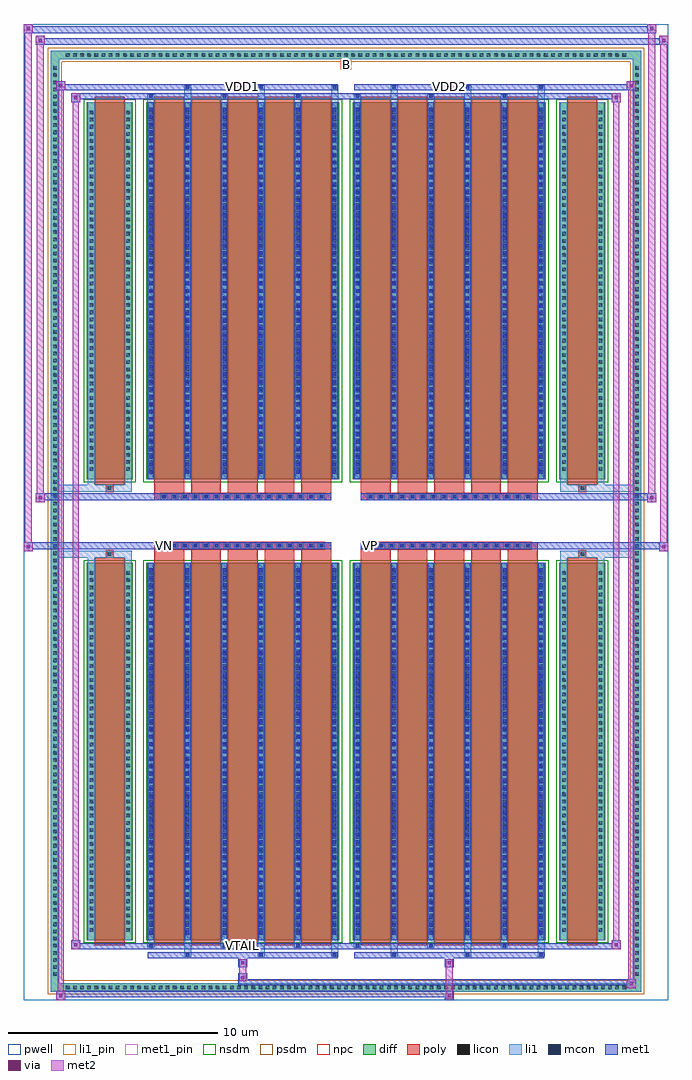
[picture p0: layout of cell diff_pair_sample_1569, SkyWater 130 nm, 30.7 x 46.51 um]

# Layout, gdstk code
import gdstk
lib = gdstk.Library(unit=1e-6, precision=5e-09)
def R(c, l, rs):  # rectangles x0, y0, x1, y1
    for r in rs: c.add(gdstk.rectangle(r[:2], r[2:], *l))
def A(c, l, x, y, w, h, nx, ny, dx, dy):  # array of equal rectangles
    R(c, l, [(x+i*dx, y+j*dy, x+i*dx+w, y+j*dy+h) for i in range(nx) for j in range(ny)])
def P(c, l, *ps):  # polygons
    for p in ps: c.add(gdstk.Polygon(p, *l))
pwell = (64, 44)
diff = (65, 20)
poly = (66, 20)
licon = (66, 44)
li1_pin = (67, 16)
li1 = (67, 20)
mcon = (67, 44)
met1_pin = (68, 16)
met1 = (68, 20)
via = (68, 44)
met2 = (69, 20)
nsdm = (93, 44)
psdm = (94, 20)
npc = (95, 20)

diff_pair_sample_1569 = lib.new_cell('diff_pair_sample_1569')
R(diff_pair_sample_1569, pwell, [(-15.35,-22.82,15.35,23.69), (-12.67,-21.01,-0.01,-0.805), (0.01,-21.01,12.67,-0.805), (-12.67,0.805,-0.01,21.01), (0.01,0.805,12.67,21.01)])
A(diff_pair_sample_1569, diff, -13.465, -22.42, 0.41, 0.41, 79, 2, 0.34, 44.43)
A(diff_pair_sample_1569, diff, -14.08, -21.795, 0.41, 0.41, 1, 128, 0, 0.34)
A(diff_pair_sample_1569, diff, 13.67, -21.795, 0.41, 0.41, 1, 128, 0, 0.34)
R(diff_pair_sample_1569, diff, [(-13.465,-22.42,13.465,-22.01), (-14.08,-21.795,-13.67,21.795), (13.67,-21.795,14.08,21.795), (-12.36,-19.965,-10.16,-1.985), (-9.52,-19.965,-0.32,-1.985), (0.32,-19.965,9.52,-1.985), (10.16,-19.965,12.36,-1.985), (-12.36,1.985,-10.16,19.965), (-9.52,1.985,-0.32,19.965), (0.32,1.985,9.52,19.965), (10.16,1.985,12.36,19.965), (-13.465,22.01,13.465,22.42)])
P(diff_pair_sample_1569, diff, [(14.08,22.42),(-14.08,22.42),(-14.08,-22.01),(-13.67,-22.01),(-13.67,22.01),(13.67,22.01),(13.67,-22.01),(-13.67,-22.01),(-14.08,-22.01),(-14.08,-22.42),(14.08,-22.42)])
A(diff_pair_sample_1569, poly, -9.13, -20.215, 1.42, 18.48, 5, 2, 1.75, 21.95)
A(diff_pair_sample_1569, poly, 0.71, -20.215, 1.42, 18.48, 5, 2, 1.75, 21.95)
A(diff_pair_sample_1569, poly, -9.13, -1.735, 1.42, 0.4, 5, 2, 1.75, 3.07)
A(diff_pair_sample_1569, poly, 0.71, -1.735, 1.42, 0.4, 5, 2, 1.75, 3.07)
A(diff_pair_sample_1569, poly, -8.835, -1.335, 0.33, 0.33, 16, 2, 0.5, 2.34)
A(diff_pair_sample_1569, poly, 1.005, -1.335, 0.33, 0.33, 16, 2, 0.5, 2.34)
R(diff_pair_sample_1569, poly, [(-11.97,-20.215,-10.55,-1.735), (10.55,-20.215,11.97,-1.735), (-11.425,-1.735,-11.095,-1.405), (-11.425,-1.735,-11.095,-1.405), (11.095,-1.735,11.425,-1.405), (11.095,-1.735,11.425,-1.405), (-9.13,-1.335,-0.71,-1.005), (0.71,-1.335,9.13,-1.005), (-9.13,1.005,-0.71,1.335), (0.71,1.005,9.13,1.335), (-11.425,1.405,-11.095,1.735), (-11.425,1.405,-11.095,1.735), (11.095,1.405,11.425,1.735), (11.095,1.405,11.425,1.735), (-11.97,1.735,-10.55,20.215), (10.55,1.735,11.97,20.215)])
A(diff_pair_sample_1569, licon, -13.345, -22.3, 0.17, 0.17, 79, 2, 0.34, 44.43)
A(diff_pair_sample_1569, licon, -13.96, -21.675, 0.17, 0.17, 1, 128, 0, 0.34)
A(diff_pair_sample_1569, licon, 13.79, -21.675, 0.17, 0.17, 1, 128, 0, 0.34)
A(diff_pair_sample_1569, licon, -12.22, -19.56, 0.17, 0.17, 1, 51, 0, 0.34)
A(diff_pair_sample_1569, licon, -10.47, -19.56, 0.17, 0.17, 1, 51, 0, 0.34)
A(diff_pair_sample_1569, licon, -9.38, -19.56, 0.17, 0.17, 6, 51, 1.75, 0.34)
A(diff_pair_sample_1569, licon, 0.46, -19.56, 0.17, 0.17, 6, 51, 1.75, 0.34)
A(diff_pair_sample_1569, licon, 10.3, -19.56, 0.17, 0.17, 1, 51, 0, 0.34)
A(diff_pair_sample_1569, licon, 12.05, -19.56, 0.17, 0.17, 1, 51, 0, 0.34)
A(diff_pair_sample_1569, licon, -8.755, -1.255, 0.17, 0.17, 16, 2, 0.5, 2.34)
A(diff_pair_sample_1569, licon, 1.085, -1.255, 0.17, 0.17, 16, 2, 0.5, 2.34)
A(diff_pair_sample_1569, licon, -12.22, 2.39, 0.17, 0.17, 1, 51, 0, 0.34)
A(diff_pair_sample_1569, licon, -10.47, 2.39, 0.17, 0.17, 1, 51, 0, 0.34)
A(diff_pair_sample_1569, licon, -9.38, 2.39, 0.17, 0.17, 6, 51, 1.75, 0.34)
A(diff_pair_sample_1569, licon, 0.46, 2.39, 0.17, 0.17, 6, 51, 1.75, 0.34)
A(diff_pair_sample_1569, licon, 10.3, 2.39, 0.17, 0.17, 1, 51, 0, 0.34)
A(diff_pair_sample_1569, licon, 12.05, 2.39, 0.17, 0.17, 1, 51, 0, 0.34)
R(diff_pair_sample_1569, licon, [(-11.345,-1.655,-11.175,-1.485), (11.175,-1.655,11.345,-1.485), (-11.345,1.485,-11.175,1.655), (11.175,1.485,11.345,1.655)])
R(diff_pair_sample_1569, li1_pin, [(-0.25,21.51,0.25,22.01)])
A(diff_pair_sample_1569, li1, -13.425, -22.38, 0.33, 0.33, 79, 2, 0.34, 44.43)
A(diff_pair_sample_1569, li1, -14.04, -21.755, 0.33, 0.33, 1, 128, 0, 0.34)
A(diff_pair_sample_1569, li1, 13.71, -21.755, 0.33, 0.33, 1, 128, 0, 0.34)
A(diff_pair_sample_1569, li1, -7.71, -20.77, 0.33, 0.805, 3, 2, 3.5, 40.735)
A(diff_pair_sample_1569, li1, -7.63, -20.77, 0.17, 0.17, 3, 2, 3.5, 41.37)
A(diff_pair_sample_1569, li1, 2.13, -20.77, 0.33, 0.805, 3, 2, 3.5, 40.735)
A(diff_pair_sample_1569, li1, 2.21, -20.77, 0.17, 0.17, 3, 2, 3.5, 41.37)
A(diff_pair_sample_1569, li1, -9.46, -20.34, 0.33, 0.375, 3, 2, 3.5, 40.305)
A(diff_pair_sample_1569, li1, -9.38, -20.34, 0.17, 0.17, 3, 2, 3.5, 40.51)
A(diff_pair_sample_1569, li1, 0.38, -20.34, 0.33, 0.375, 3, 2, 3.5, 40.305)
A(diff_pair_sample_1569, li1, 0.46, -20.34, 0.17, 0.17, 3, 2, 3.5, 40.51)
A(diff_pair_sample_1569, li1, -9.46, -19.965, 0.33, 17.98, 6, 2, 1.75, 21.95)
A(diff_pair_sample_1569, li1, 0.38, -19.965, 0.33, 17.98, 6, 2, 1.75, 21.95)
A(diff_pair_sample_1569, li1, -9.38, -19.7, 0.17, 0.17, 6, 49, 1.75, 0.36)
A(diff_pair_sample_1569, li1, -9.38, -19.7, 0.17, 17.45, 6, 2, 1.75, 21.95)
A(diff_pair_sample_1569, li1, 0.46, -19.7, 0.17, 0.17, 6, 49, 1.75, 0.36)
A(diff_pair_sample_1569, li1, 0.46, -19.7, 0.17, 17.45, 6, 2, 1.75, 21.95)
A(diff_pair_sample_1569, li1, -12.3, -19.64, 0.33, 0.33, 1, 51, 0, 0.34)
A(diff_pair_sample_1569, li1, -10.55, -19.64, 0.33, 0.33, 1, 51, 0, 0.34)
A(diff_pair_sample_1569, li1, -9.46, -19.64, 0.33, 0.33, 6, 51, 1.75, 0.34)
A(diff_pair_sample_1569, li1, 0.38, -19.64, 0.33, 0.33, 6, 51, 1.75, 0.34)
A(diff_pair_sample_1569, li1, 10.22, -19.64, 0.33, 0.33, 1, 51, 0, 0.34)
A(diff_pair_sample_1569, li1, 11.97, -19.64, 0.33, 0.33, 1, 51, 0, 0.34)
A(diff_pair_sample_1569, li1, -8.835, -1.335, 0.33, 0.33, 16, 2, 0.5, 2.34)
A(diff_pair_sample_1569, li1, 1.005, -1.335, 0.33, 0.33, 16, 2, 0.5, 2.34)
A(diff_pair_sample_1569, li1, -9.38, 2.25, 0.17, 0.17, 6, 49, 1.75, 0.36)
A(diff_pair_sample_1569, li1, 0.46, 2.25, 0.17, 0.17, 6, 49, 1.75, 0.36)
A(diff_pair_sample_1569, li1, -12.3, 2.31, 0.33, 0.33, 1, 51, 0, 0.34)
A(diff_pair_sample_1569, li1, -10.55, 2.31, 0.33, 0.33, 1, 51, 0, 0.34)
A(diff_pair_sample_1569, li1, -9.46, 2.31, 0.33, 0.33, 6, 51, 1.75, 0.34)
A(diff_pair_sample_1569, li1, 0.38, 2.31, 0.33, 0.33, 6, 51, 1.75, 0.34)
A(diff_pair_sample_1569, li1, 10.22, 2.31, 0.33, 0.33, 1, 51, 0, 0.34)
A(diff_pair_sample_1569, li1, 11.97, 2.31, 0.33, 0.33, 1, 51, 0, 0.34)
R(diff_pair_sample_1569, li1, [(-14.08,-22.42,-13.67,-22.01), (-14.08,-22.42,-13.67,-22.01), (-13.67,-22.42,13.67,-22.01), (13.67,-22.42,14.08,-22.01), (13.67,-22.42,14.08,-22.01), (-14.08,-22.01,-13.67,22.01), (13.67,-22.01,14.08,22.01), (-12.3,-19.965,-11.97,-1.985), (-10.55,-19.965,-10.22,-1.985), (10.22,-19.965,10.55,-1.985), (11.97,-19.965,12.3,-1.985), (-12.3,-1.985,-11.97,-1.405), (-10.55,-1.985,-10.22,-1.405), (10.22,-1.985,10.55,-1.405), (11.97,-1.985,12.3,-1.405), (-14.08,-1.735,-11.425,-1.405), (-12.3,-1.735,-11.425,-1.405), (-11.425,-1.735,-11.095,-1.405), (-11.095,-1.735,-10.22,-1.405), (10.22,-1.735,11.095,-1.405), (11.095,-1.735,11.425,-1.405), (11.095,-1.735,14.08,-1.405), (11.425,-1.735,12.3,-1.405), (-14.08,1.405,-11.425,1.735), (-12.3,1.405,-11.425,1.735), (-12.3,1.405,-11.97,1.985), (-11.425,1.405,-11.095,1.735), (-11.095,1.405,-10.22,1.735), (-10.55,1.405,-10.22,1.985), (10.22,1.405,11.095,1.735), (10.22,1.405,10.55,1.985), (11.095,1.405,11.425,1.735), (11.095,1.405,14.08,1.735), (11.425,1.405,12.3,1.735), (11.97,1.405,12.3,1.985), (-12.3,1.985,-11.97,19.965), (-10.55,1.985,-10.22,19.965), (10.22,1.985,10.55,19.965), (11.97,1.985,12.3,19.965), (-14.08,22.01,-13.67,22.42), (-14.08,22.01,-13.67,22.42), (-13.67,22.01,13.67,22.42), (13.67,22.01,14.08,22.42), (13.67,22.01,14.08,22.42)])
A(diff_pair_sample_1569, mcon, -7.63, -20.77, 0.17, 0.17, 3, 2, 3.5, 41.37)
A(diff_pair_sample_1569, mcon, 2.21, -20.77, 0.17, 0.17, 3, 2, 3.5, 41.37)
A(diff_pair_sample_1569, mcon, -9.38, -20.34, 0.17, 0.17, 3, 2, 3.5, 40.51)
A(diff_pair_sample_1569, mcon, 0.46, -20.34, 0.17, 0.17, 3, 2, 3.5, 40.51)
A(diff_pair_sample_1569, mcon, -9.38, -19.7, 0.17, 0.17, 6, 49, 1.75, 0.36)
A(diff_pair_sample_1569, mcon, 0.46, -19.7, 0.17, 0.17, 6, 49, 1.75, 0.36)
A(diff_pair_sample_1569, mcon, -8.755, -1.255, 0.17, 0.17, 16, 2, 0.5, 2.34)
A(diff_pair_sample_1569, mcon, 1.085, -1.255, 0.17, 0.17, 16, 2, 0.5, 2.34)
A(diff_pair_sample_1569, mcon, -9.38, 2.25, 0.17, 0.17, 6, 49, 1.75, 0.36)
A(diff_pair_sample_1569, mcon, 0.46, 2.25, 0.17, 0.17, 6, 49, 1.75, 0.36)
R(diff_pair_sample_1569, met1_pin, [(-5.055,-20.38,-4.785,-20.11), (-8.805,-1.295,-8.535,-1.025), (1.035,-1.295,1.305,-1.025), (-5.055,20.56,-4.785,20.83), (4.785,20.56,5.055,20.83)])
A(diff_pair_sample_1569, met1, -7.69, -20.83, 0.29, 0.29, 3, 2, 3.5, 41.37)
A(diff_pair_sample_1569, met1, 2.15, -20.83, 0.29, 0.29, 3, 2, 3.5, 41.37)
A(diff_pair_sample_1569, met1, -9.44, -20.4, 0.29, 0.29, 3, 2, 3.5, 40.51)
A(diff_pair_sample_1569, met1, 0.4, -20.4, 0.29, 0.29, 3, 2, 3.5, 40.51)
A(diff_pair_sample_1569, met1, -9.44, -19.965, 0.29, 17.98, 6, 2, 1.75, 21.95)
A(diff_pair_sample_1569, met1, 0.4, -19.965, 0.29, 17.98, 6, 2, 1.75, 21.95)
A(diff_pair_sample_1569, met1, -9.44, -19.76, 0.29, 0.29, 6, 49, 1.75, 0.36)
A(diff_pair_sample_1569, met1, 0.4, -19.76, 0.29, 0.29, 6, 49, 1.75, 0.36)
A(diff_pair_sample_1569, met1, -8.815, -1.315, 0.29, 0.29, 16, 2, 0.5, 2.34)
A(diff_pair_sample_1569, met1, 1.025, -1.315, 0.29, 0.29, 16, 2, 0.5, 2.34)
A(diff_pair_sample_1569, met1, -9.44, 2.19, 0.29, 0.29, 6, 49, 1.75, 0.36)
A(diff_pair_sample_1569, met1, 0.4, 2.19, 0.29, 0.29, 6, 49, 1.75, 0.36)
R(diff_pair_sample_1569, met1, [(-13.81,-22.82,-13.38,-22.39), (4.705,-22.82,5.135,-22.39), (-13.81,-22.68,5.135,-22.39), (13.38,-22.25,13.81,-21.82), (-5.135,-22.11,13.81,-21.82), (-5.135,-21.97,-4.705,-21.54), (-5.135,-21.26,-4.705,-20.83), (4.705,-21.26,5.135,-20.83), (-9.44,-20.83,-0.4,-20.54), (0.4,-20.83,9.44,-20.54), (-13.1,-20.4,-12.67,-19.97), (-13.1,-20.4,-9.44,-20.11), (-9.44,-20.4,-0.4,-20.11), (-0.4,-20.4,0.4,-20.11), (0.4,-20.4,9.44,-20.11), (9.44,-20.4,13.1,-20.11), (12.67,-20.4,13.1,-19.97), (-15.35,-1.435,-14.92,-1.005), (14.92,-1.435,15.35,-1.005), (-15.35,-1.335,-0.71,-1.005), (-9.13,-1.335,-0.71,-1.005), (0.71,-1.335,9.13,-1.005), (0.71,-1.335,15.35,-1.005), (-14.78,0.905,-14.35,1.335), (14.35,0.905,14.78,1.335), (-14.78,1.005,-9.13,1.335), (-9.13,1.005,-0.71,1.335), (0.71,1.005,9.13,1.335), (9.13,1.005,14.78,1.335), (-13.1,19.97,-12.67,20.4), (12.67,19.97,13.1,20.4), (-13.1,20.11,-9.44,20.4), (-9.44,20.11,-0.4,20.4), (-0.4,20.11,0.4,20.4), (0.4,20.11,9.44,20.4), (9.44,20.11,13.1,20.4), (-13.81,20.54,-13.38,20.97), (-13.81,20.54,-9.44,20.83), (-9.44,20.54,-0.4,20.83), (0.4,20.54,9.44,20.83), (9.44,20.54,13.81,20.83), (13.38,20.54,13.81,20.97), (-14.78,22.69,-14.35,23.12), (-14.78,22.69,-12.67,23.02), (-12.67,22.69,12.67,23.02), (12.67,22.69,15.35,23.02), (14.92,22.69,15.35,23.12), (-15.35,23.26,-14.92,23.69), (-15.35,23.26,-12.67,23.59), (-12.67,23.26,12.67,23.59), (12.67,23.26,14.78,23.59), (14.35,23.26,14.78,23.69)])
R(diff_pair_sample_1569, via, [(-13.67,-22.68,-13.52,-22.53), (4.845,-22.68,4.995,-22.53), (13.52,-22.11,13.67,-21.96), (-4.995,-21.83,-4.845,-21.68), (-4.995,-21.12,-4.845,-20.97), (4.845,-21.12,4.995,-20.97), (-12.96,-20.26,-12.81,-20.11), (12.81,-20.26,12.96,-20.11), (-15.21,-1.295,-15.06,-1.145), (15.06,-1.295,15.21,-1.145), (-14.64,1.045,-14.49,1.195), (14.49,1.045,14.64,1.195), (-12.96,20.11,-12.81,20.26), (12.81,20.11,12.96,20.26), (-13.67,20.68,-13.52,20.83), (13.52,20.68,13.67,20.83), (-14.64,22.83,-14.49,22.98), (15.06,22.83,15.21,22.98), (-15.21,23.4,-15.06,23.55), (14.49,23.4,14.64,23.55)])
R(diff_pair_sample_1569, met2, [(-13.81,-22.82,-13.38,-22.39), (-13.74,-22.82,-13.45,20.97), (-13.45,-22.82,-13.38,-22.39), (-13.76,-22.77,-13.43,-22.44), (4.755,-22.77,5.085,-22.44), (4.755,-22.44,5.085,-21.21), (13.38,-22.25,13.81,-21.82), (13.45,-22.25,13.74,20.97), (13.74,-22.25,13.81,-21.82), (13.43,-22.2,13.76,-21.87), (-5.085,-21.92,-4.755,-21.59), (-5.085,-21.59,-4.755,-21.21), (-5.085,-21.21,-4.755,-20.88), (4.755,-21.21,5.085,-20.88), (-13.1,-20.4,-12.67,-19.97), (-13.03,-20.4,-12.74,20.4), (-12.74,-20.4,-12.67,-19.97), (12.67,-20.4,13.1,-19.97), (12.74,-20.4,13.03,20.4), (13.03,-20.4,13.1,-19.97), (-13.05,-20.35,-12.72,-20.02), (12.72,-20.35,13.05,-20.02), (-15.35,-1.435,-14.92,-1.005), (-15.3,-1.435,-14.97,23.69), (-14.97,-1.435,-14.92,-1.005), (14.92,-1.435,15.35,-1.005), (14.97,-1.435,15.3,23.12), (15.3,-1.435,15.35,-1.005), (-15.3,-1.385,-14.97,-1.055), (14.97,-1.385,15.3,-1.055), (-14.78,0.905,-14.35,1.335), (-14.73,0.905,-14.4,23.12), (-14.4,0.905,-14.35,1.335), (14.35,0.905,14.78,1.335), (14.4,0.905,14.73,23.69), (14.73,0.905,14.78,1.335), (-14.73,0.955,-14.4,1.285), (14.4,0.955,14.73,1.285), (-13.1,19.97,-12.67,20.4), (-12.74,19.97,-12.67,20.4), (12.67,19.97,13.1,20.4), (13.03,19.97,13.1,20.4), (-13.05,20.02,-12.72,20.35), (12.72,20.02,13.05,20.35), (-13.81,20.54,-13.38,20.97), (-13.45,20.54,-13.38,20.97), (13.38,20.54,13.81,20.97), (13.74,20.54,13.81,20.97), (-13.76,20.59,-13.43,20.92), (13.43,20.59,13.76,20.92), (-14.78,22.69,-14.35,23.12), (-14.4,22.69,-14.35,23.12), (14.92,22.69,15.35,23.12), (15.3,22.69,15.35,23.12), (-14.73,22.74,-14.4,23.07), (14.97,22.74,15.3,23.07), (-15.35,23.26,-14.92,23.69), (-14.97,23.26,-14.92,23.69), (14.35,23.26,14.78,23.69), (14.73,23.26,14.78,23.69), (-15.3,23.31,-14.97,23.64), (14.4,23.31,14.73,23.64)])
R(diff_pair_sample_1569, nsdm, [(-12.49,-20.095,-10.03,-1.855), (-9.65,-20.095,-0.19,-1.855), (0.19,-20.095,9.65,-1.855), (10.03,-20.095,12.49,-1.855), (-12.49,1.855,-10.03,20.095), (-9.65,1.855,-0.19,20.095), (0.19,1.855,9.65,20.095), (10.03,1.855,12.49,20.095)])
P(diff_pair_sample_1569, psdm, [(14.21,22.55),(-14.21,22.55),(-14.21,-21.88),(-13.54,-21.88),(-13.54,21.88),(13.54,21.88),(13.54,-21.88),(-13.54,-21.88),(-14.21,-21.88),(-14.21,-22.55),(14.21,-22.55)])
A(diff_pair_sample_1569, npc, -8.855, -1.355, 0.37, 0.37, 16, 2, 0.5, 2.34)
A(diff_pair_sample_1569, npc, 0.985, -1.355, 0.37, 0.37, 16, 2, 0.5, 2.34)
R(diff_pair_sample_1569, npc, [(-11.445,-1.755,-11.075,-1.385), (11.075,-1.755,11.445,-1.385), (-8.855,-1.355,-7.985,-0.985), (-8.855,-1.355,-7.985,-0.985), (-8.355,-1.355,-7.485,-0.985), (-8.355,-1.355,-7.485,-0.985), (-7.855,-1.355,-6.985,-0.985), (-7.855,-1.355,-6.985,-0.985), (-7.355,-1.355,-6.485,-0.985), (-7.355,-1.355,-6.485,-0.985), (-6.855,-1.355,-5.985,-0.985), (-6.855,-1.355,-5.985,-0.985), (-6.355,-1.355,-5.485,-0.985), (-6.355,-1.355,-5.485,-0.985), (-5.855,-1.355,-4.985,-0.985), (-5.855,-1.355,-4.985,-0.985), (-5.355,-1.355,-4.485,-0.985), (-5.355,-1.355,-4.485,-0.985), (-4.855,-1.355,-3.985,-0.985), (-4.855,-1.355,-3.985,-0.985), (-4.355,-1.355,-3.485,-0.985), (-4.355,-1.355,-3.485,-0.985), (-3.855,-1.355,-2.985,-0.985), (-3.855,-1.355,-2.985,-0.985), (-3.355,-1.355,-2.485,-0.985), (-3.355,-1.355,-2.485,-0.985), (-2.855,-1.355,-1.985,-0.985), (-2.855,-1.355,-1.985,-0.985), (-2.355,-1.355,-1.485,-0.985), (-2.355,-1.355,-1.485,-0.985), (-1.855,-1.355,-0.985,-0.985), (-1.855,-1.355,-0.985,-0.985), (0.985,-1.355,1.855,-0.985), (0.985,-1.355,1.855,-0.985), (1.485,-1.355,2.355,-0.985), (1.485,-1.355,2.355,-0.985), (1.985,-1.355,2.855,-0.985), (1.985,-1.355,2.855,-0.985), (2.485,-1.355,3.355,-0.985), (2.485,-1.355,3.355,-0.985), (2.985,-1.355,3.855,-0.985), (2.985,-1.355,3.855,-0.985), (3.485,-1.355,4.355,-0.985), (3.485,-1.355,4.355,-0.985), (3.985,-1.355,4.855,-0.985), (3.985,-1.355,4.855,-0.985), (4.485,-1.355,5.355,-0.985), (4.485,-1.355,5.355,-0.985), (4.985,-1.355,5.855,-0.985), (4.985,-1.355,5.855,-0.985), (5.485,-1.355,6.355,-0.985), (5.485,-1.355,6.355,-0.985), (5.985,-1.355,6.855,-0.985), (5.985,-1.355,6.855,-0.985), (6.485,-1.355,7.355,-0.985), (6.485,-1.355,7.355,-0.985), (6.985,-1.355,7.855,-0.985), (6.985,-1.355,7.855,-0.985), (7.485,-1.355,8.355,-0.985), (7.485,-1.355,8.355,-0.985), (7.985,-1.355,8.855,-0.985), (7.985,-1.355,8.855,-0.985), (-8.855,0.985,-7.985,1.355), (-8.855,0.985,-7.985,1.355), (-8.355,0.985,-7.485,1.355), (-8.355,0.985,-7.485,1.355), (-7.855,0.985,-6.985,1.355), (-7.855,0.985,-6.985,1.355), (-7.355,0.985,-6.485,1.355), (-7.355,0.985,-6.485,1.355), (-6.855,0.985,-5.985,1.355), (-6.855,0.985,-5.985,1.355), (-6.355,0.985,-5.485,1.355), (-6.355,0.985,-5.485,1.355), (-5.855,0.985,-4.985,1.355), (-5.855,0.985,-4.985,1.355), (-5.355,0.985,-4.485,1.355), (-5.355,0.985,-4.485,1.355), (-4.855,0.985,-3.985,1.355), (-4.855,0.985,-3.985,1.355), (-4.355,0.985,-3.485,1.355), (-4.355,0.985,-3.485,1.355), (-3.855,0.985,-2.985,1.355), (-3.855,0.985,-2.985,1.355), (-3.355,0.985,-2.485,1.355), (-3.355,0.985,-2.485,1.355), (-2.855,0.985,-1.985,1.355), (-2.855,0.985,-1.985,1.355), (-2.355,0.985,-1.485,1.355), (-2.355,0.985,-1.485,1.355), (-1.855,0.985,-0.985,1.355), (-1.855,0.985,-0.985,1.355), (0.985,0.985,1.855,1.355), (0.985,0.985,1.855,1.355), (1.485,0.985,2.355,1.355), (1.485,0.985,2.355,1.355), (1.985,0.985,2.855,1.355), (1.985,0.985,2.855,1.355), (2.485,0.985,3.355,1.355), (2.485,0.985,3.355,1.355), (2.985,0.985,3.855,1.355), (2.985,0.985,3.855,1.355), (3.485,0.985,4.355,1.355), (3.485,0.985,4.355,1.355), (3.985,0.985,4.855,1.355), (3.985,0.985,4.855,1.355), (4.485,0.985,5.355,1.355), (4.485,0.985,5.355,1.355), (4.985,0.985,5.855,1.355), (4.985,0.985,5.855,1.355), (5.485,0.985,6.355,1.355), (5.485,0.985,6.355,1.355), (5.985,0.985,6.855,1.355), (5.985,0.985,6.855,1.355), (6.485,0.985,7.355,1.355), (6.485,0.985,7.355,1.355), (6.985,0.985,7.855,1.355), (6.985,0.985,7.855,1.355), (7.485,0.985,8.355,1.355), (7.485,0.985,8.355,1.355), (7.985,0.985,8.855,1.355), (7.985,0.985,8.855,1.355), (-11.445,1.385,-11.075,1.755), (11.075,1.385,11.445,1.755)])
diff_pair_sample_1569.add(gdstk.Label('VTAIL', (-4.92,-20.245), layer=68, texttype=5))
diff_pair_sample_1569.add(gdstk.Label('VN', (-8.67,-1.16), layer=68, texttype=5))
diff_pair_sample_1569.add(gdstk.Label('VP', (1.17,-1.16), layer=68, texttype=5))
diff_pair_sample_1569.add(gdstk.Label('B', (0,21.76), layer=67, texttype=5))
diff_pair_sample_1569.add(gdstk.Label('VDD2', (4.92,20.695), layer=68, texttype=5))
diff_pair_sample_1569.add(gdstk.Label('VDD1', (-4.92,20.695), layer=68, texttype=5))

lib.write_gds('diff_pair_sample_1569.gds')
